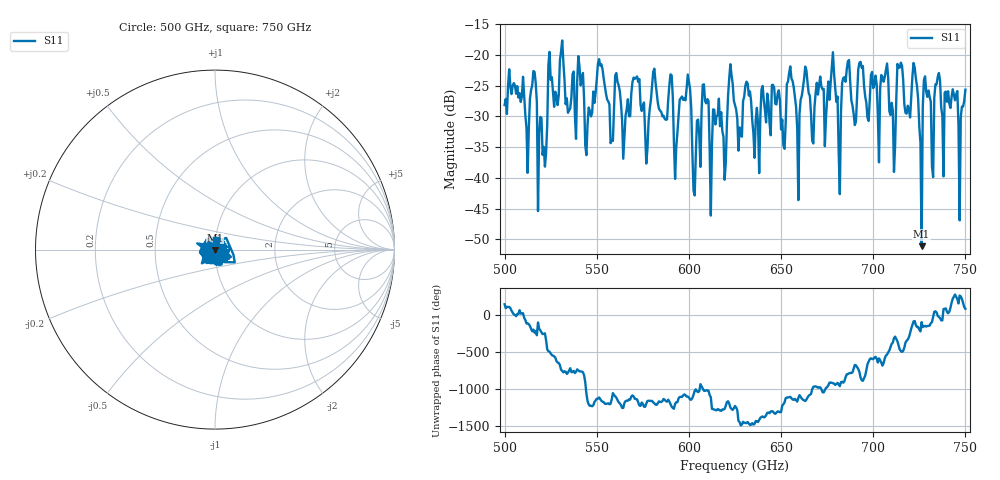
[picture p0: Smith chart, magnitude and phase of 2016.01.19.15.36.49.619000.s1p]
!Created with skrf (http://scikit-rf.org).
# GHz S RI R 50.0
!freq ReS11 ImS11
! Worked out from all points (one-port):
!   401 points, 500 GHz to 750 GHz, reference 50 ohm
!   lowest |S11| = -51.1 dB at 726.2 GHz (marker M1), VSWR 1.01, Z = 50 - j0.278 ohm
!   |S11| at or under -10 dB: start of sweep to end of sweep
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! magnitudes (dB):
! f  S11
! 500 GHz  -28.2
! 512.5 GHz  -39.2
! 515.6 GHz  -22.6
! 521.9 GHz  -38.2
! 525 GHz  -24.1
! 531.2 GHz  -17.7
! 545 GHz  -31.3
! 551.9 GHz  -21.7
! 557.5 GHz  -34.4
! 562.5 GHz  -25.9
! 577.5 GHz  -35.2
! 590 GHz  -23.2
! 593.8 GHz  -32.7
! 599.4 GHz  -23.2
! 603.1 GHz  -42.9
! 608.8 GHz  -27.5
! 625 GHz  -28.1
! 651.2 GHz  -34.7
! 656.2 GHz  -24.3
! 659.4 GHz  -43.6
! 678.1 GHz  -19.6
! 681.2 GHz  -35.7
! 687.5 GHz  -24.3
! 718.8 GHz  -28.3
! 722.5 GHz  -22.1
! 726.2 GHz  -51.1
! 728.8 GHz  -26.0
! 750 GHz  -25.7
